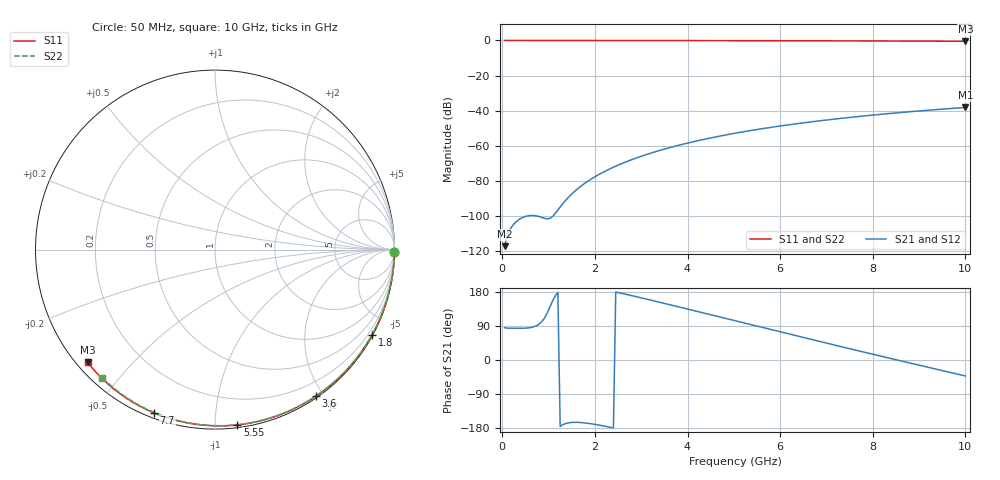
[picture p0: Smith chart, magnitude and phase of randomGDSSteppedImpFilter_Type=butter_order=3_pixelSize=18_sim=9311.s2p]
! freq	dB(S11)	phase(S11)	dB(S12)	phase(S12)
!  dB(S21)	phase(S21)	dB(S22)	phase(S22)
!S-par simulation data
#  GHz  S  DB  R 50
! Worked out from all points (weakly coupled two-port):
!   200 points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, 50 MHz to 10 GHz, reference 50 ohm
!   highest |S21| = -38.14 dB at 10 GHz (marker M1); lowest = -117.1 dB at 50 MHz (marker M2)
!   lowest |S11| = -0.5 dB at 10 GHz (marker M3), VSWR 37.00, Z = 1.55 - j18.9 ohm
!   |S11| at or under -10 dB: nowhere
!   |S22| runs from -0.4 to 0.0 dB; largest |S21 - S12| = 0
!   S11 on the Smith chart (normalised r, x): 50 MHz: open; 1.8 GHz: 0.03, -3.95; 3.6 GHz: 0.02, -1.90; 5.55 GHz: 0.02, -1.14; 7.7 GHz: 0.02, -0.69; 10 GHz: 0.03, -0.38
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0.05  -0.00 -0.8  -117.09 85.4  -117.09 85.4  -0.00 -0.8
0.45  -0.01 -7.2  -100.66 83.8  -100.66 83.8  -0.01 -6.8
0.9  -0.02 -14.3  -101.17 108.6  -101.17 108.6  -0.02 -13.6
1.75  -0.04 -27.6  -81.91 -165.6  -81.91 -165.6  -0.03 -26.2
1.8  -0.04 -28.4  -80.97 -166.3  -80.97 -166.3  -0.03 -26.9
1.85  -0.04 -29.2  -80.08 -167.0  -80.08 -167.0  -0.04 -27.6
2.15  -0.04 -33.8  -75.39 -173.2  -75.39 -173.2  -0.04 -32.0
2.35  -0.05 -36.8  -72.76 -178.1  -72.76 -178.1  -0.04 -34.9
2.55  -0.05 -39.9  -70.41 176.7  -70.41 176.7  -0.05 -37.8
2.95  -0.06 -45.9  -66.38 165.5  -66.38 165.5  -0.06 -43.5
3.4  -0.07 -52.5  -62.59 152.4  -62.59 152.4  -0.07 -49.8
3.6  -0.07 -55.4  -61.11 146.4  -61.11 146.4  -0.07 -52.6
3.9  -0.08 -59.8  -59.06 137.4  -59.06 137.4  -0.08 -56.8
4.3  -0.09 -65.5  -56.61 125.4  -56.61 125.4  -0.09 -62.2
5.05  -0.12 -75.9  -52.70 102.8  -52.70 102.8  -0.11 -72.2
5.55  -0.14 -82.7  -50.48 87.7  -50.48 87.7  -0.13 -78.6
6.1  -0.16 -90.0  -48.32 71.2  -48.32 71.2  -0.15 -85.6
6.7  -0.19 -97.8  -46.23 53.3  -46.23 53.3  -0.18 -93.0
7.7  -0.25 -110.4  -43.26 23.9  -43.26 23.9  -0.24 -105.0
8.35  -0.30 -118.5  -41.61 5.1  -41.61 5.1  -0.29 -112.6
9.2  -0.38 -128.8  -39.70 -19.4  -39.70 -19.4  -0.36 -122.3
10  -0.47 -138.5  -38.14 -42.2  -38.14 -42.2  -0.44 -131.3
